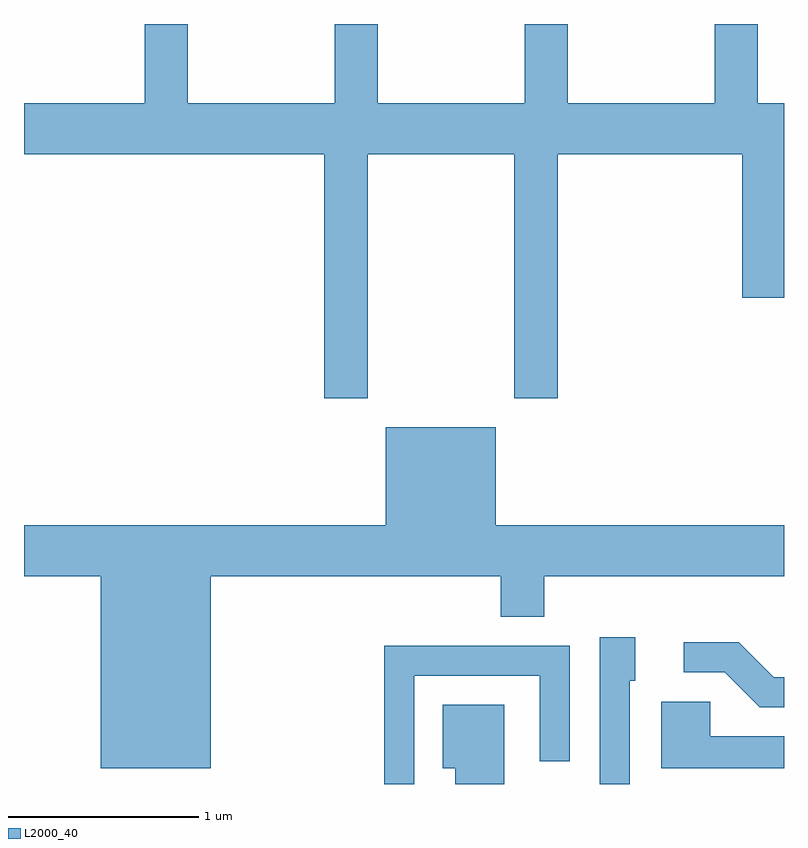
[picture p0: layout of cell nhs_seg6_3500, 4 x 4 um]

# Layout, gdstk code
import gdstk
lib = gdstk.Library(unit=1e-6, precision=1e-09)
def P(c, l, *ps):  # polygons
    for p in ps: c.add(gdstk.Polygon(p, *l))
L2000_40 = (2000, 40)

nhs_seg6_3500 = lib.new_cell('nhs_seg6_3500')
P(nhs_seg6_3500, L2000_40, [(291.419,1665.476),(292.191,1665.476),(292.191,1664.191),(292.419,1664.191),(292.419,1665.476),(293.391,1665.476),(293.391,1664.721),(293.611,1664.721),(293.611,1665.744),(293.474,1665.744),(293.474,1666.162),(293.246,1666.162),(293.246,1665.744),(292.474,1665.744),(292.474,1666.162),(292.246,1666.162),(292.246,1665.744),(291.474,1665.744),(291.474,1666.162),(291.246,1666.162),(291.246,1665.744),(290.474,1665.744),(290.474,1666.162),(290.246,1666.162),(290.246,1665.744),(289.611,1665.744),(289.611,1665.476),(291.191,1665.476),(291.191,1664.191),(291.419,1664.191)],
  [(290.594,1663.256),(292.121,1663.256),(292.121,1663.041),(292.349,1663.041),(292.349,1663.256),(293.611,1663.256),(293.611,1663.524),(292.094,1663.524),(292.094,1664.039),(291.516,1664.039),(291.516,1663.524),(289.611,1663.524),(289.611,1663.256),(290.016,1663.256),(290.016,1662.246),(290.594,1662.246)],
  [(292.799,1662.706),(292.829,1662.706),(292.829,1662.934),(292.641,1662.934),(292.641,1662.162),(292.799,1662.162)],
  [(293.611,1662.724),(293.557,1662.724),(293.372,1662.909),(293.083,1662.909),(293.083,1662.751),(293.299,1662.751),(293.484,1662.566),(293.611,1662.566)],
  [(291.664,1662.731),(292.326,1662.731),(292.326,1662.283),(292.484,1662.283),(292.484,1662.889),(291.506,1662.889),(291.506,1662.162),(291.664,1662.162)],
  [(293.611,1662.414),(293.224,1662.414),(293.224,1662.594),(292.966,1662.594),(292.966,1662.246),(293.611,1662.246)],
  [(292.139,1662.579),(291.816,1662.579),(291.816,1662.246),(291.881,1662.246),(291.881,1662.162),(292.139,1662.162)])

lib.write_gds('nhs_seg6_3500.gds')
